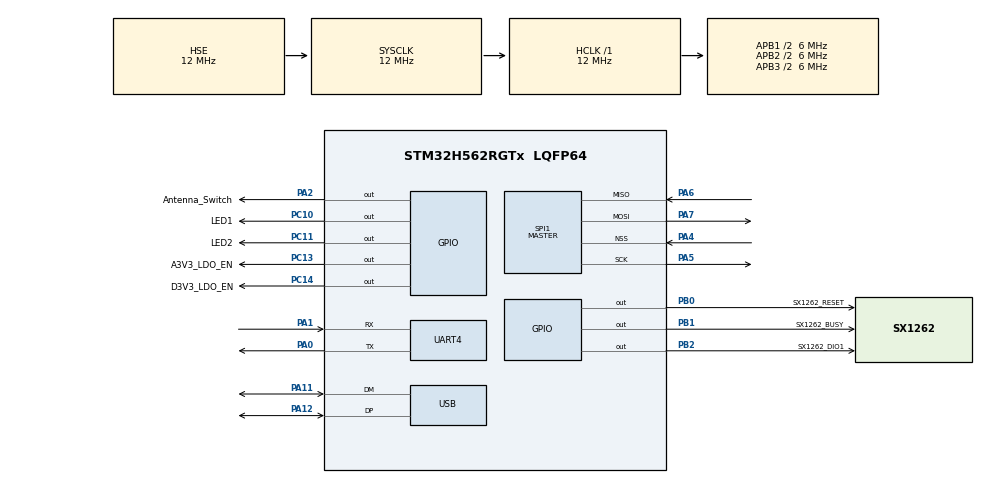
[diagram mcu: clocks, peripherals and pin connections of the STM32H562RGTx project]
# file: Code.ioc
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BOOTPATH.BootPathName=LEGACY
BOOTPATH.UserSelectedBootPath=LEGACY
CORTEX_M33_NS.Number-Cortex_Memory_Protection_Unit_Region0_OTP_RO_AREAS_Settings=MPU_REGION_NUMBER0
CORTEX_M33_NS.default_mode_Activation=1
CORTEX_M33_NS.userName=CORTEX_M33
Mcu.Family=STM32H5
Mcu.Name=STM32H562RGTx
Mcu.Package=LQFP64
NVIC.PriorityGroup=NVIC_PRIORITYGROUP_4
NVIC.USB_DRD_FS_IRQn=true\:0\:0\:false\:false\:true\:true\:true\:true
PA0.Mode=Asynchronous
PA0.Signal=UART4_TX
PA1.Mode=Asynchronous
PA1.Signal=UART4_RX
PA11.Mode=Device
PA11.Signal=USB_DM
PA12.Mode=Device
PA12.Signal=USB_DP
PA14(JTCK/SWCLK).Signal=DEBUG_JTCK-SWCLK
PA2.GPIO_Label=Antenna_Switch
PA2.Signal=GPIO_Output
PA4.Mode=NSS_Signal_Hard_Input
PA4.Signal=SPI1_NSS
PA5.Mode=Full_Duplex_Master
PA5.Signal=SPI1_SCK
PA6.Mode=Full_Duplex_Master
PA6.Signal=SPI1_MISO
PA7.Mode=Full_Duplex_Master
PA7.Signal=SPI1_MOSI
PB0.GPIO_Label=SX1262_RESET
PB0.Signal=GPIO_Output
PB1.GPIO_Label=SX1262_BUSY
PB1.Signal=GPIO_Output
PB2.GPIO_Label=SX1262_DIO1
PB2.Signal=GPIO_Output
PC10.GPIO_Label=LED1
PC10.Signal=GPIO_Output
PC11.GPIO_Label=LED2
PC11.Signal=GPIO_Output
PC13.GPIO_Label=A3V3_LDO_EN
PC13.Signal=GPIO_Output
PC14-OSC32_IN(OSC32_IN).GPIO_Label=D3V3_LDO_EN
PC14-OSC32_IN(OSC32_IN).Signal=GPIO_Output
PH0-OSC_IN(PH0).Mode=HSE-External-Oscillator
PH0-OSC_IN(PH0).Signal=RCC_OSC_IN
PH1-OSC_OUT(PH1).Mode=HSE-External-Oscillator
PH1-OSC_OUT(PH1).Signal=RCC_OSC_OUT
ProjectManager.HeapSize=0x200
ProjectManager.StackSize=0x400
ProjectManager.TargetToolchain=CMake
RCC.ADCFreq_Value=12000000
RCC.AHBFreq_Value=12000000
RCC.APB1CLKDivider=RCC_HCLK_DIV2
RCC.APB1Freq_Value=6000000
RCC.APB1TimFreq_Value=12000000
RCC.APB2CLKDivider=RCC_HCLK_DIV2
RCC.APB2Freq_Value=6000000
RCC.APB2TimFreq_Value=12000000
RCC.APB3CLKDivider=RCC_HCLK_DIV2
RCC.APB3Freq_Value=6000000
RCC.CSI_VALUE=4000000
RCC.CortexFreq_Value=12000000
RCC.EPOD_VALUE=12000000
RCC.HCLKFreq_Value=12000000
RCC.HSE_VALUE=12000000
RCC.HSI48_VALUE=48000000
RCC.HSI_VALUE=64000000
RCC.LSE_VALUE=32768
RCC.LSIRC_VALUE=32000
RCC.PLL1Q=3
RCC.PLL2FRACN=0
RCC.PLL3FRACN=0
RCC.PLL3M=3
RCC.PLL3N=48
RCC.PLL3Q=4
RCC.PLL3Source=RCC_PLL3_SOURCE_HSE
RCC.PLLFRACN=5462
RCC.PLLN=10
RCC.PLLSourceVirtual=RCC_PLL1_SOURCE_HSE
RCC.SYSCLKFreq_VALUE=12000000
RCC.SYSCLKSource=RCC_SYSCLKSOURCE_HSE
RCC.USBCLockSelection=RCC_USBCLKSOURCE_PLL3Q
RCC.USBFreq_Value=48000000
RCC.VCOOutputFreq_Value=128000976.5625
SPI1.CalculateBaudRate=21.333496 MBits/s
SPI1.Direction=SPI_DIRECTION_2LINES
SPI1.Mode=SPI_MODE_MASTER
SPI1.VirtualNSS=VM_NSSHARD
SPI1.VirtualType=VM_MASTER
USB.VirtualMode=Device_Only
VP_BOOTPATH_VS_BOOTPATH.Mode=BP_Activate
VP_CORTEX_M33_NS_VS_Hclk.Mode=Hclk_Mode
VP_ICACHE_VS_ICACHE.Mode=DirectMappedCache
VP_MEMORYMAP_VS_MEMORYMAP.Mode=CurAppReg
VP_PWR_VS_LPOM.Mode=PowerOptimisation
VP_PWR_VS_SECSignals.Mode=Security/Privilege
board=custom

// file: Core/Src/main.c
/* USER CODE BEGIN Header */
/**
  ******************************************************************************
  * @file           : main.c
  * @brief          : Main program body
  ******************************************************************************
  * @attention
  *
  * Copyright (c) 2026 STMicroelectronics.
  * All rights reserved.
  *
  * This software is licensed under terms that can be found in the LICENSE file
  * in the root directory of this software component.
  * If no LICENSE file comes with this software, it is provided AS-IS.
  *
  ******************************************************************************
  */
/* USER CODE END Header */
#include "main.h"

/* USER CODE BEGIN Includes */
#include "scheduler.h"
#include "log.h"
#include "usb_cdc.h"
#include "radio.h"
// #include "can_bus.h"
#include "radio_test.h"
// #include "can_radio_bridge.h"
// #include <stdio.h>
/* USER CODE END Includes */

/* USER CODE BEGIN PD */
#define ROLE_ROCKET 0
#define ROLE_GROUND 1

/* Set to ROLE_ROCKET for the onboard/rocket board (forwards every received
 * CAN frame over the radio, verbatim) or ROLE_GROUND for the ground station
 * (listens continuously and logs received packets over UART4). Only used by
 * bring-up STAGE 4 below. */
#define BOARD_ROLE ROLE_ROCKET
/* USER CODE END PD */

SPI_HandleTypeDef hspi1;

UART_HandleTypeDef huart4;

PCD_HandleTypeDef hpcd_USB_DRD_FS;

void SystemClock_Config(void);
static void MPU_Config(void);
static void MX_GPIO_Init(void);
static void MX_ICACHE_Init(void);
static void MX_SPI1_Init(void);
static void MX_USB_PCD_Init(void);
static void MX_UART4_Init(void);
/* USER CODE BEGIN PFP */
#if BOARD_ROLE == ROLE_GROUND
static void GroundStation_Task(void);
#endif
/* USER CODE END PFP */

/* USER CODE BEGIN 0 */
#if BOARD_ROLE == ROLE_GROUND
static void GroundStation_Task(void)
{
    if (!Radio_IsBusy())
    {
        Radio_StartReceive();
    }
}
#endif

/* Bring-up helpers for STAGE 1 and STAGE 3 below (see USER CODE 2). Each is
 * only referenced from inside its own commented-out stage block, so expect
 * a harmless "defined but not used" warning while that stage is inactive. */
static uint32_t s_stage1_counter = 0;

static void Stage1_UartTask(void)
{
    Log_Printf("[%lu] STAGE1 UART OK count=%lu\r\n", HAL_GetTick(), s_stage1_counter++);
}

// static void Stage3_CanLogTask(void)
// {
//     CanBus_Message_t msg;
//
//     while (CanBus_GetReceived(&msg))
//     {
//         char hex[3 * CANBUS_MAX_DATA_LEN + 1];
//         size_t pos = 0;
//
//         for (uint8_t i = 0; i < msg.len; i++)
//         {
//             pos += (size_t)snprintf(hex + pos, sizeof(hex) - pos, "%02X ", msg.data[i]);
//         }
//         Log_Printf("[%lu] STAGE3 CAN id=0x%lX len=%u data=%s\r\n", HAL_GetTick(), msg.id, msg.len, hex);
//     }
// }
/* USER CODE END 0 */

int main(void)
{

  /* MCU Configuration--------------------------------------------------------*/

  /* MPU Configuration--------------------------------------------------------*/
  MPU_Config();

  /* Reset of all peripherals, Initializes the Flash interface and the Systick. */
  HAL_Init();

  /* Configure the system clock */
  SystemClock_Config();

  /* Initialize all configured peripherals */
  MX_GPIO_Init();
  MX_ICACHE_Init();
  MX_SPI1_Init();
  MX_USB_PCD_Init();
  MX_UART4_Init();
  /* USER CODE BEGIN 2 */
  /* Defensive re-assert: guarantee the analog 3V3 LDO stays disabled and
   * the digital 3V3 LDO stays enabled at startup, regardless of what runs
   * before this point. */
  HAL_GPIO_WritePin(A3V3_LDO_EN_GPIO_Port, A3V3_LDO_EN_Pin, GPIO_PIN_RESET);
  HAL_GPIO_WritePin(D3V3_LDO_EN_GPIO_Port, D3V3_LDO_EN_Pin, GPIO_PIN_SET);

  Scheduler_Init();

  /* TinyUSB owns the USB_DRD_FS peripheral registers directly (see the
   * comment in MX_USB_PCD_Init), so it's initialized here instead of via
   * HAL_PCD_Init. UsbCdc_Task must run often for the port to enumerate and
   * stay responsive; 1 ms is what a full-speed CDC port needs. */
  UsbCdc_Init();
  Scheduler_AddTask(UsbCdc_Task, 1);

  /* ------------------------------------------------------------------
   * BRING-UP TEST STAGES
   *
   * Each stage below has a description comment (leave it alone) and,
   * right under it, its own short comment-wrapped code block. Delete
   * just that inner pair of comment markers to activate one stage's
   * code, build, flash, and verify it before moving to the next stage.
   * Each stage assumes the previous one already works. Re-comment a
   * stage's code before activating the next one's. Leave all of them
   * commented out and nothing runs; stage 4 is also where production
   * behavior lives.
   * ------------------------------------------------------------------ */

  /* ---- STAGE 1: UART4 / Log_Printf sanity check --------------------
   * No radio, no CAN. Confirms Log_Printf() reaches your terminal or
   * radio_dashboard.py at all. Expect one "STAGE1 UART OK count=..."
   * line per second.
   * -------------------------------------------------------------- */
  Scheduler_AddTask(Stage1_UartTask, 1000);

  /* ---- STAGE 2: Radio heartbeat (SPI + SX1262) ---------------------
   * Confirms the SPI link and SX1262 bring-up in isolation: transmits
   * an incrementing counter every 50 ms. Watch for "RADIO TX" /
   * "RADIO TXDONE" lines (and "RADIO RX" on the receiving board, if
   * it's also running and in range).
   * -------------------------------------------------------------- */
  Radio_Init();
  RadioTest_Init();
  Scheduler_AddTask(Radio_Task, 5);
  Scheduler_AddTask(RadioTest_Task, 50);

  /* ---- STAGE 3: CAN bus sanity check --------------------------------
   * No radio. Confirms FDCAN1 + TCAN1046 bring-up: logs every CAN
   * frame received as "STAGE3 CAN id=... len=... data=...".
   * -------------------------------------------------------------- */
  /*
  CanBus_Init();
  Scheduler_AddTask(CanBus_Task, 5);
  Scheduler_AddTask(Stage3_CanLogTask, 5);
  */

  /* ---- STAGE 4: Full bridge (production behavior) -------------------
   * The real rocket/ground logic, exactly as shipped. Set BOARD_ROLE
   * above to ROLE_ROCKET or ROLE_GROUND before uncommenting this.
   * -------------------------------------------------------------- */
  /*
  Radio_Init();
  CanBus_Init();
  Scheduler_AddTask(Radio_Task, 5);
  Scheduler_AddTask(CanBus_Task, 5);
#if BOARD_ROLE == ROLE_ROCKET
  Scheduler_AddTask(CanRadioBridge_Task, 5);
#else
  Radio_StartReceive();
  Scheduler_AddTask(GroundStation_Task, 5);
#endif
  */
  /* USER CODE END 2 */

  /* Infinite loop */
  while (1)
  {

    /* USER CODE BEGIN 3 */
    Scheduler_Run();
  }
  /* USER CODE END 3 */
}

void SystemClock_Config(void)
{
  RCC_OscInitTypeDef RCC_OscInitStruct = {0};
  RCC_ClkInitTypeDef RCC_ClkInitStruct = {0};

  /** Configure the main internal regulator output voltage
  */
  __HAL_PWR_VOLTAGESCALING_CONFIG(PWR_REGULATOR_VOLTAGE_SCALE3);

  while(!__HAL_PWR_GET_FLAG(PWR_FLAG_VOSRDY)) {}

  /** Initializes the RCC Oscillators according to the specified parameters
  * in the RCC_OscInitTypeDef structure.
  */
  RCC_OscInitStruct.OscillatorType = RCC_OSCILLATORTYPE_HSE;
  RCC_OscInitStruct.HSEState = RCC_HSE_ON;
  RCC_OscInitStruct.PLL.PLLState = RCC_PLL_ON;
  RCC_OscInitStruct.PLL.PLLSource = RCC_PLL1_SOURCE_HSE;
  RCC_OscInitStruct.PLL.PLLM = 1;
  RCC_OscInitStruct.PLL.PLLN = 10;
  RCC_OscInitStruct.PLL.PLLP = 2;
  RCC_OscInitStruct.PLL.PLLQ = 3;
  RCC_OscInitStruct.PLL.PLLR = 2;
  RCC_OscInitStruct.PLL.PLLRGE = RCC_PLL1_VCIRANGE_3;
  RCC_OscInitStruct.PLL.PLLVCOSEL = RCC_PLL1_VCORANGE_WIDE;
  RCC_OscInitStruct.PLL.PLLFRACN = 5462;
  if (HAL_RCC_OscConfig(&RCC_OscInitStruct) != HAL_OK)
  {
    Error_Handler();
  }

  /** Initializes the CPU, AHB and APB buses clocks
  */
  RCC_ClkInitStruct.ClockType = RCC_CLOCKTYPE_HCLK|RCC_CLOCKTYPE_SYSCLK
                              |RCC_CLOCKTYPE_PCLK1|RCC_CLOCKTYPE_PCLK2
                              |RCC_CLOCKTYPE_PCLK3;
  RCC_ClkInitStruct.SYSCLKSource = RCC_SYSCLKSOURCE_HSE;
  RCC_ClkInitStruct.AHBCLKDivider = RCC_SYSCLK_DIV1;
  RCC_ClkInitStruct.APB1CLKDivider = RCC_HCLK_DIV2;
  RCC_ClkInitStruct.APB2CLKDivider = RCC_HCLK_DIV2;
  RCC_ClkInitStruct.APB3CLKDivider = RCC_HCLK_DIV2;

  if (HAL_RCC_ClockConfig(&RCC_ClkInitStruct, FLASH_LATENCY_0) != HAL_OK)
  {
    Error_Handler();
  }

  /** Configure the programming delay
  */
  __HAL_FLASH_SET_PROGRAM_DELAY(FLASH_PROGRAMMING_DELAY_0);
}

static void MX_ICACHE_Init(void)
{

  /** Enable instruction cache in 1-way (direct mapped cache)
  */
  if (HAL_ICACHE_ConfigAssociativityMode(ICACHE_1WAY) != HAL_OK)
  {
    Error_Handler();
  }
  if (HAL_ICACHE_Enable() != HAL_OK)
  {
    Error_Handler();
  }

}

static void MX_SPI1_Init(void)
{

  /* SPI1 parameter configuration*/
  hspi1.Instance = SPI1;
  hspi1.Init.Mode = SPI_MODE_MASTER;
  hspi1.Init.Direction = SPI_DIRECTION_2LINES;
  hspi1.Init.DataSize = SPI_DATASIZE_8BIT;
  hspi1.Init.CLKPolarity = SPI_POLARITY_LOW;
  hspi1.Init.CLKPhase = SPI_PHASE_1EDGE;
  hspi1.Init.NSS = SPI_NSS_SOFT;
  hspi1.Init.BaudRatePrescaler = SPI_BAUDRATEPRESCALER_4;
  hspi1.Init.FirstBit = SPI_FIRSTBIT_MSB;
  hspi1.Init.TIMode = SPI_TIMODE_DISABLE;
  hspi1.Init.CRCCalculation = SPI_CRCCALCULATION_DISABLE;
  hspi1.Init.CRCPolynomial = 0x7;
  hspi1.Init.NSSPMode = SPI_NSS_PULSE_ENABLE;
  hspi1.Init.NSSPolarity = SPI_NSS_POLARITY_LOW;
  hspi1.Init.FifoThreshold = SPI_FIFO_THRESHOLD_01DATA;
  hspi1.Init.MasterSSIdleness = SPI_MASTER_SS_IDLENESS_00CYCLE;
  hspi1.Init.MasterInterDataIdleness = SPI_MASTER_INTERDATA_IDLENESS_00CYCLE;
  hspi1.Init.MasterReceiverAutoSusp = SPI_MASTER_RX_AUTOSUSP_DISABLE;
  hspi1.Init.MasterKeepIOState = SPI_MASTER_KEEP_IO_STATE_DISABLE;
  hspi1.Init.IOSwap = SPI_IO_SWAP_DISABLE;
  hspi1.Init.ReadyMasterManagement = SPI_RDY_MASTER_MANAGEMENT_INTERNALLY;
  hspi1.Init.ReadyPolarity = SPI_RDY_POLARITY_HIGH;
  if (HAL_SPI_Init(&hspi1) != HAL_OK)
  {
    Error_Handler();
  }

}

static void MX_UART4_Init(void)
{

  huart4.Instance = UART4;
  huart4.Init.BaudRate = 115200;
  huart4.Init.WordLength = UART_WORDLENGTH_8B;
  huart4.Init.StopBits = UART_STOPBITS_1;
  huart4.Init.Parity = UART_PARITY_NONE;
  huart4.Init.Mode = UART_MODE_TX_RX;
  huart4.Init.HwFlowCtl = UART_HWCONTROL_NONE;
  huart4.Init.OverSampling = UART_OVERSAMPLING_16;
  huart4.Init.OneBitSampling = UART_ONE_BIT_SAMPLE_DISABLE;
  huart4.Init.ClockPrescaler = UART_PRESCALER_DIV1;
  huart4.AdvancedInit.AdvFeatureInit = UART_ADVFEATURE_NO_INIT;
  if (HAL_UART_Init(&huart4) != HAL_OK)
  {
    Error_Handler();
  }
  if (HAL_UARTEx_SetTxFifoThreshold(&huart4, UART_TXFIFO_THRESHOLD_1_8) != HAL_OK)
  {
    Error_Handler();
  }
  if (HAL_UARTEx_SetRxFifoThreshold(&huart4, UART_RXFIFO_THRESHOLD_1_8) != HAL_OK)
  {
    Error_Handler();
  }
  if (HAL_UARTEx_DisableFifoMode(&huart4) != HAL_OK)
  {
    Error_Handler();
  }

}

static void MX_USB_PCD_Init(void)
{

  hpcd_USB_DRD_FS.Instance = USB_DRD_FS;
  /* USER CODE BEGIN USB_Init 2 */
  /* TinyUSB (see usb_cdc.c / UsbCdc_Init) drives the USB_DRD_FS registers
   * itself via its own dcd_init(), so HAL_PCD_Init() is intentionally not
   * called here -- calling both would fight over the same peripheral
   * state. HAL_PCD_MspInit() still does the board bring-up TinyUSB needs
   * first: PLL3Q clock config, VDDUSB, and the USB_DRD_FS NVIC IRQ. */
  HAL_PCD_MspInit(&hpcd_USB_DRD_FS);
  /* USER CODE END USB_Init 2 */

}

static void MX_GPIO_Init(void)
{
  GPIO_InitTypeDef GPIO_InitStruct = {0};

  /* GPIO Ports Clock Enable */
  __HAL_RCC_GPIOC_CLK_ENABLE();
  __HAL_RCC_GPIOH_CLK_ENABLE();
  __HAL_RCC_GPIOA_CLK_ENABLE();
  __HAL_RCC_GPIOB_CLK_ENABLE();

  /*Configure GPIO pin Output Level */
  HAL_GPIO_WritePin(GPIOC, A3V3_LDO_EN_Pin|LED1_Pin|LED2_Pin, GPIO_PIN_RESET);

  /*Configure GPIO pin Output Level (digital 3V3 LDO enabled from the start) */
  HAL_GPIO_WritePin(GPIOC, D3V3_LDO_EN_Pin, GPIO_PIN_SET);

  /*Configure GPIO pin Output Level */
  HAL_GPIO_WritePin(Antenna_Switch_GPIO_Port, Antenna_Switch_Pin, GPIO_PIN_RESET);

  /*Configure GPIO pin Output Level */
  HAL_GPIO_WritePin(GPIOB, SX1262_RESET_Pin, GPIO_PIN_RESET);

  /*Configure GPIO pins : LED1_Pin LED2_Pin */
  GPIO_InitStruct.Pin = LED1_Pin|LED2_Pin;
  GPIO_InitStruct.Mode = GPIO_MODE_OUTPUT_PP;
  GPIO_InitStruct.Pull = GPIO_NOPULL;
  GPIO_InitStruct.Speed = GPIO_SPEED_FREQ_LOW;
  HAL_GPIO_Init(GPIOC, &GPIO_InitStruct);

  /*Configure GPIO pin : D3V3_LDO_EN_Pin (pulled up as a backstop, in
   * addition to being actively driven high and the external pull-up, so
   * the digital 3V3 rail stays enabled from power-on) */
  GPIO_InitStruct.Pin = D3V3_LDO_EN_Pin;
  GPIO_InitStruct.Mode = GPIO_MODE_OUTPUT_PP;
  GPIO_InitStruct.Pull = GPIO_PULLUP;
  GPIO_InitStruct.Speed = GPIO_SPEED_FREQ_LOW;
  HAL_GPIO_Init(GPIOC, &GPIO_InitStruct);

  /*Configure GPIO pin : A3V3_LDO_EN_Pin (pulled down as a backstop, in
   * addition to being actively driven low, so the radio's analog 3V3
   * rail can never be left floating enabled) */
  GPIO_InitStruct.Pin = A3V3_LDO_EN_Pin;
  GPIO_InitStruct.Mode = GPIO_MODE_OUTPUT_PP;
  GPIO_InitStruct.Pull = GPIO_PULLDOWN;
  GPIO_InitStruct.Speed = GPIO_SPEED_FREQ_LOW;
  HAL_GPIO_Init(GPIOC, &GPIO_InitStruct);

  /*Configure GPIO pin : Antenna_Switch_Pin */
  GPIO_InitStruct.Pin = Antenna_Switch_Pin;
  GPIO_InitStruct.Mode = GPIO_MODE_OUTPUT_PP;
  GPIO_InitStruct.Pull = GPIO_NOPULL;
  GPIO_InitStruct.Speed = GPIO_SPEED_FREQ_LOW;
  HAL_GPIO_Init(Antenna_Switch_GPIO_Port, &GPIO_InitStruct);

  /*Configure GPIO pin : SX1262_RESET_Pin */
  GPIO_InitStruct.Pin = SX1262_RESET_Pin;
  GPIO_InitStruct.Mode = GPIO_MODE_OUTPUT_PP;
  GPIO_InitStruct.Pull = GPIO_NOPULL;
  GPIO_InitStruct.Speed = GPIO_SPEED_FREQ_LOW;
  HAL_GPIO_Init(GPIOB, &GPIO_InitStruct);

  /*Configure GPIO pins : SX1262_BUSY_Pin SX1262_DIO1_Pin (chip outputs, MCU
   * only ever reads these) */
  GPIO_InitStruct.Pin = SX1262_BUSY_Pin|SX1262_DIO1_Pin;
  GPIO_InitStruct.Mode = GPIO_MODE_INPUT;
  GPIO_InitStruct.Pull = GPIO_NOPULL;
  HAL_GPIO_Init(GPIOB, &GPIO_InitStruct);

  /* USER CODE BEGIN MX_GPIO_Init_2 */

  /* Software-controlled SPI1 NSS (SX1262 chip select), idle high */
  HAL_GPIO_WritePin(SX1262_NSS_GPIO_Port, SX1262_NSS_Pin, GPIO_PIN_SET);
  GPIO_InitStruct.Pin = SX1262_NSS_Pin;
  GPIO_InitStruct.Mode = GPIO_MODE_OUTPUT_PP;
  GPIO_InitStruct.Pull = GPIO_NOPULL;
  GPIO_InitStruct.Speed = GPIO_SPEED_FREQ_LOW;
  HAL_GPIO_Init(SX1262_NSS_GPIO_Port, &GPIO_InitStruct);

  /* USER CODE END MX_GPIO_Init_2 */
}

 /* MPU Configuration */

void MPU_Config(void)
{
  MPU_Region_InitTypeDef MPU_InitStruct = {0};
  MPU_Attributes_InitTypeDef MPU_AttributesInit = {0};

  /* Disables the MPU */
  HAL_MPU_Disable();

  /** Initializes and configures the Region 0 and the memory to be protected
  */
  MPU_InitStruct.Enable = MPU_REGION_ENABLE;
  MPU_InitStruct.Number = MPU_REGION_NUMBER0;
  MPU_InitStruct.BaseAddress = 0x08FFF000;
  MPU_InitStruct.LimitAddress = 0x08FFFFFF;
  MPU_InitStruct.AttributesIndex = MPU_ATTRIBUTES_NUMBER0;
  MPU_InitStruct.AccessPermission = MPU_REGION_ALL_RO;
  MPU_InitStruct.DisableExec = MPU_INSTRUCTION_ACCESS_DISABLE;
  MPU_InitStruct.IsShareable = MPU_ACCESS_NOT_SHAREABLE;

  HAL_MPU_ConfigRegion(&MPU_InitStruct);

  /** Initializes and configures the Attribute 0 and the memory to be protected
  */
  MPU_AttributesInit.Number = MPU_ATTRIBUTES_NUMBER0;
  MPU_AttributesInit.Attributes = INNER_OUTER(MPU_NOT_CACHEABLE);

  HAL_MPU_ConfigMemoryAttributes(&MPU_AttributesInit);
  /* Enables the MPU */
  HAL_MPU_Enable(MPU_PRIVILEGED_DEFAULT);

}

void Error_Handler(void)
{
  __disable_irq();
  while (1)
  {
  }
}
